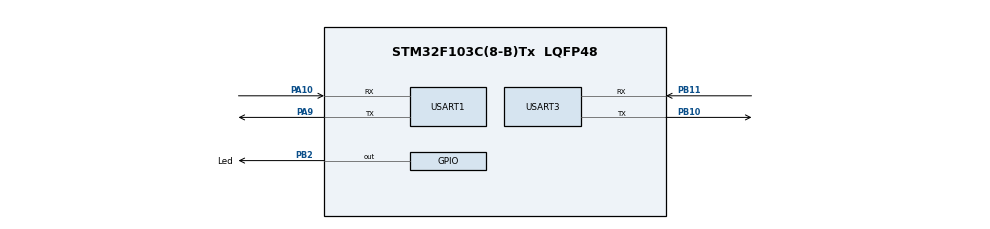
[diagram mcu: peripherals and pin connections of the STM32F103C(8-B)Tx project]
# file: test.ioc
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Mcu.Family=STM32F1
Mcu.Name=STM32F103C(8-B)Tx
Mcu.Package=LQFP48
NVIC.PriorityGroup=NVIC_PRIORITYGROUP_4
NVIC.USART1_IRQn=true\:0\:0\:false\:false\:true\:true\:true
NVIC.USART3_IRQn=true\:0\:0\:false\:false\:true\:true\:true
PA10.Mode=Asynchronous
PA10.Signal=USART1_RX
PA13.Mode=Serial_Wire
PA13.Signal=SYS_JTMS-SWDIO
PA14.Mode=Serial_Wire
PA14.Signal=SYS_JTCK-SWCLK
PA9.Mode=Asynchronous
PA9.Signal=USART1_TX
PB10.Mode=Asynchronous
PB10.Signal=USART3_TX
PB11.Mode=Asynchronous
PB11.Signal=USART3_RX
PB2.GPIO_Label=Led
PB2.Signal=GPIO_Output
ProjectManager.HeapSize=0x200
ProjectManager.StackSize=0x400
ProjectManager.TargetToolchain=STM32CubeIDE
RCC.APB1Freq_Value=8000000
RCC.APB2Freq_Value=8000000
USART1.VirtualMode=VM_ASYNC
USART3.VirtualMode=VM_ASYNC
board=custom

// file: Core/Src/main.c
/* USER CODE BEGIN Header */
/**
  ******************************************************************************
  * @file           : main.c
  * @brief          : Main program body
  ******************************************************************************
  * @attention
  *
  * <h2><center>&copy; Copyright (c) 2021 STMicroelectronics.
  * All rights reserved.</center></h2>
  *
  * This software component is licensed by ST under BSD 3-Clause license,
  * the "License"; You may not use this file except in compliance with the
  * License. You may obtain a copy of the License at:
  *                        opensource.org/licenses/BSD-3-Clause
  *
  ******************************************************************************
  */
/* USER CODE END Header */
#include "main.h"
#include "usart.h"
#include "gpio.h"

/* USER CODE BEGIN Includes */
#include "MQTTSim800.h"

#include <stdlib.h>
#include "stdio.h"
#include <errno.h>
#include <sys/unistd.h>// STDOUT_FILENO, STDERR_FILENO

/* USER CODE END Includes */

/* USER CODE BEGIN PV */
SIM800_t SIM800;
/* USER CODE END PV */

void SystemClock_Config(void);

/* USER CODE BEGIN PFP */

int _write(int file, char *data, int len) {
    if ((file != STDOUT_FILENO) && (file != STDERR_FILENO)) {
        errno = EBADF;
        return -1;
    }

    // arbitrary timeout 1000
    HAL_StatusTypeDef status =
            HAL_UART_Transmit(&huart1, (uint8_t *) data, len, 1000);

    // return # of bytes written - as best we can tell
    return (status == HAL_OK ? len : 0);
}

/* USER CODE END PFP */

/* USER CODE BEGIN 0 */
void HAL_UART_RxCpltCallback(UART_HandleTypeDef *huart) {
    if (huart == UART_SIM800) {
//        printf("new msg");
        Sim800_RxCallBack();
    }
}
/* USER CODE END 0 */

#pragma clang diagnostic push
#pragma ide diagnostic ignored "EndlessLoop"

int main(void) {

    /* MCU Configuration--------------------------------------------------------*/

    /* Reset of all peripherals, Initializes the Flash interface and the Systick. */
    HAL_Init();

    /* Configure the system clock */
    SystemClock_Config();

    /* Initialize all configured peripherals */
    MX_GPIO_Init();
    MX_USART1_UART_Init();
    MX_USART3_UART_Init();
    /* USER CODE BEGIN 2 */
    SIM800.sim.apn = "internet.beeline.ru";
    SIM800.sim.apn_user = "";
    SIM800.sim.apn_pass = "";
    SIM800.mqttServer.host = "M3.WQTT.RU";
    SIM800.mqttServer.port = 2902;
    SIM800.mqttClient.username = "test";
    SIM800.mqttClient.pass = "test";
    SIM800.mqttClient.clientID = "STM";
    SIM800.mqttClient.keepAliveInterval = 120;
    MQTT_Init();
    uint8_t sub = 0;

    printf("Starting...\n");
    /* USER CODE END 2 */

    /* Infinite loop */
    while (1) {

        /* USER CODE BEGIN 3 */
//	    HAL_UART_Transmit_IT(&huart1, &rx_data, 1);
        if (SIM800.mqttServer.connect == 0) {
            MQTT_Init();
            printf("NOT CONNECTED\n");
            sub = 0;
        }
        if (SIM800.mqttServer.connect == 1) {
            printf("CONNECTED\n");
            if (sub == 0) {
                MQTT_Sub("test");

                sub = 1;
            }
            MQTT_Pub("data/AA:BB:CC:11:22:33/", "HelloFromSTM");

            if (SIM800.mqttReceive.newEvent) {
                unsigned char *topic = SIM800.mqttReceive.topic;
                int payload = atoi(SIM800.mqttReceive.payload);
                SIM800.mqttReceive.newEvent = 0;
            }
        }
        HAL_Delay(1000);
    }
    /* USER CODE END 3 */
}

#pragma clang diagnostic pop

void SystemClock_Config(void) {
    RCC_OscInitTypeDef RCC_OscInitStruct = {0};
    RCC_ClkInitTypeDef RCC_ClkInitStruct = {0};

    /** Initializes the RCC Oscillators according to the specified parameters
    * in the RCC_OscInitTypeDef structure.
    */
    RCC_OscInitStruct.OscillatorType = RCC_OSCILLATORTYPE_HSI;
    RCC_OscInitStruct.HSIState = RCC_HSI_ON;
    RCC_OscInitStruct.HSICalibrationValue = RCC_HSICALIBRATION_DEFAULT;
    RCC_OscInitStruct.PLL.PLLState = RCC_PLL_NONE;
    if (HAL_RCC_OscConfig(&RCC_OscInitStruct) != HAL_OK) {
        Error_Handler();
    }
    /** Initializes the CPU, AHB and APB buses clocks
    */
    RCC_ClkInitStruct.ClockType = RCC_CLOCKTYPE_HCLK | RCC_CLOCKTYPE_SYSCLK
                                  | RCC_CLOCKTYPE_PCLK1 | RCC_CLOCKTYPE_PCLK2;
    RCC_ClkInitStruct.SYSCLKSource = RCC_SYSCLKSOURCE_HSI;
    RCC_ClkInitStruct.AHBCLKDivider = RCC_SYSCLK_DIV1;
    RCC_ClkInitStruct.APB1CLKDivider = RCC_HCLK_DIV1;
    RCC_ClkInitStruct.APB2CLKDivider = RCC_HCLK_DIV1;

    if (HAL_RCC_ClockConfig(&RCC_ClkInitStruct, FLASH_LATENCY_0) != HAL_OK) {
        Error_Handler();
    }
}

void Error_Handler(void) {
    __disable_irq();
    while (1) {
    }
}

/************************ (C) COPYRIGHT STMicroelectronics *****END OF FILE****/
